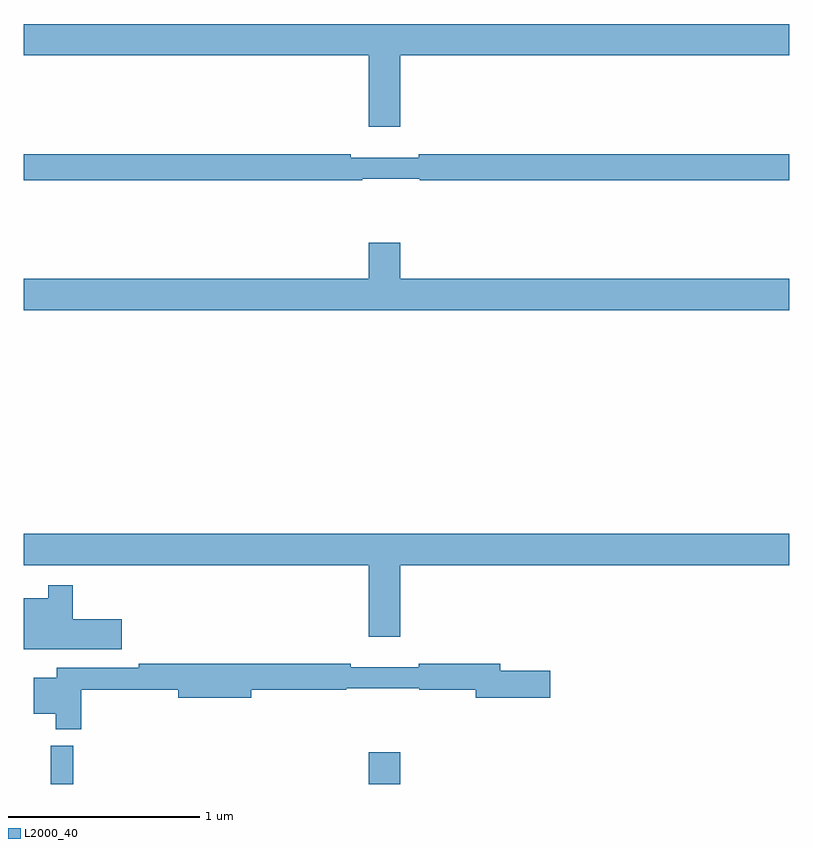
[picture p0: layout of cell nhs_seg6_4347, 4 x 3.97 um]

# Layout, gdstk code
import gdstk
lib = gdstk.Library(unit=1e-6, precision=1e-09)
def R(c, l, rs):  # rectangles x0, y0, x1, y1
    for r in rs: c.add(gdstk.rectangle(r[:2], r[2:], *l))
def P(c, l, *ps):  # polygons
    for p in ps: c.add(gdstk.Polygon(p, *l))
L2000_40 = (2000, 40)

nhs_seg6_4347 = lib.new_cell('nhs_seg6_4347')
R(nhs_seg6_4347, L2000_40, [(367.142,971.5,367.259,971.701), (368.804,971.5,368.968,971.665)])
P(nhs_seg6_4347, L2000_40, [(368.968,975.308),(371,975.308),(371,975.472),(367,975.472),(367,975.308),(368.804,975.308),(368.804,974.934),(368.968,974.934)],
  [(368.77,974.664),(369.07,974.664),(369.07,974.656),(371,974.656),(371,974.792),(369.064,974.792),(369.064,974.773),(368.708,974.773),(368.708,974.792),(367,974.792),(367,974.656),(368.77,974.656)],
  [(371,974.14),(368.968,974.14),(368.968,974.329),(368.804,974.329),(368.804,974.14),(367,974.14),(367,973.976),(371,973.976)],
  [(368.968,972.644),(371,972.644),(371,972.808),(367,972.808),(367,972.644),(368.804,972.644),(368.804,972.27),(368.968,972.27)],
  [(367.513,972.361),(367.256,972.361),(367.256,972.538),(367.128,972.538),(367.128,972.472),(367,972.472),(367,972.203),(367.513,972.203)],
  [(367.301,971.992),(367.808,971.992),(367.808,971.95),(368.188,971.95),(368.188,971.992),(368.684,971.992),(368.684,972),(369.066,972),(369.066,971.992),(369.362,971.992),(369.362,971.95),(369.751,971.95),(369.751,972.092),(369.49,972.092),(369.49,972.128),(369.064,972.128),(369.064,972.109),(368.708,972.109),(368.708,972.128),(367.6,972.128),(367.6,972.108),(367.172,972.108),(367.172,972.055),(367.052,972.055),(367.052,971.867),(367.166,971.867),(367.166,971.786),(367.301,971.786)])

lib.write_gds('nhs_seg6_4347.gds')
